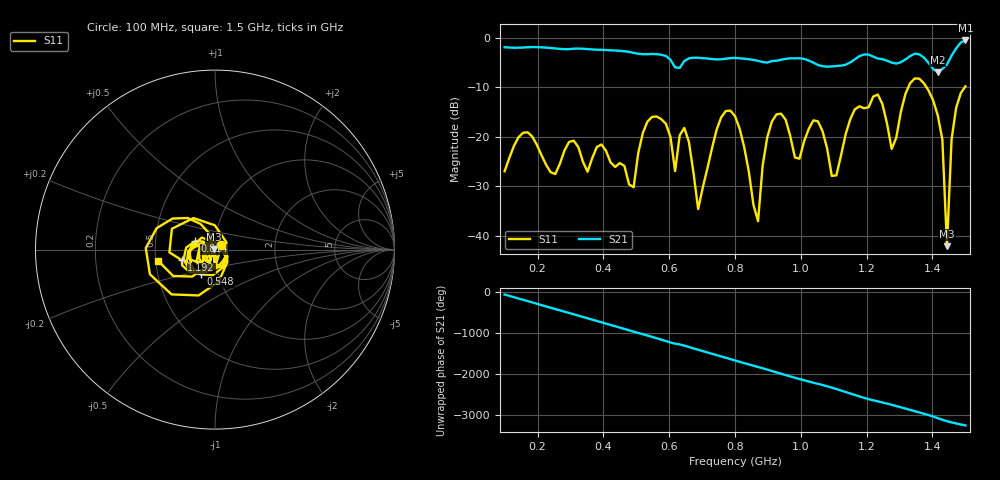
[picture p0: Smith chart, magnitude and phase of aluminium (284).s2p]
! NanoVNA-App
! Date: 2025-09-25 14:57:29
! Start: 100MHz Stop: 1,5GHz Points: 101
! S-Parameter data: F S11 S21 S12 S22
# Hz S RI R 50
!  Frequency  S11_Real  S11_Imag  S21_Real  S21_Imag  S12_Real  S12_Imag  S22_Real  S22_Imag
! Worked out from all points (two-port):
!   101 points, 100 MHz to 1.5 GHz, reference 50 ohm
!   highest |S21| = -0.56 dB at 1.5 GHz (marker M1); lowest = -7.0 dB at 1.416 GHz (marker M2)
!   |S21| within 3 dB of the highest: start of sweep to 582.6 MHz; 1.459 GHz to end of sweep (the widest 2 of 4)
!   lowest |S11| = -42.1 dB at 1.444 GHz (marker M3), VSWR 1.02, Z = 49.2 + j0.133 ohm
!   |S11| at or under -10 dB: start of sweep to 1.327 GHz; 1.382 GHz to 1.498 GHz (116.5 MHz wide, 8.09 % of centre)
!   S12 and S22 are empty: the file has one direction only
!   S11 on the Smith chart (normalised r, x): 100 MHz: 1.07, +0.06; 548 MHz: 0.82, -0.23; 814 MHz: 0.80, +0.07; 1.192 GHz: 0.68, -0.08; 1.5 GHz: 0.52, -0.07
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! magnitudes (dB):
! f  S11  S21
! 100 MHz  -27.0  -1.9
! 338 MHz  -25.0  -2.2
! 492 MHz  -30.2  -3.1
! 548 MHz  -16.0  -3.3
! 576 MHz  -16.4  -3.5
! 618 MHz  -26.9  -6.0
! 646 MHz  -18.2  -4.7
! 688 MHz  -34.6  -4.1
! 800 MHz  -15.8  -4.1
! 814 MHz  -18.4  -4.2
! 870 MHz  -37.0  -4.7
! 912 MHz  -16.9  -4.7
! 1.038 GHz  -16.7  -5.0
! 1.108 GHz  -27.8  -5.7
! 1.192 GHz  -14.2  -3.4
! 1.276 GHz  -22.4  -5.0
! 1.346 GHz  -8.2  -3.2
! 1.416 GHz  -15.7  -7.0
! 1.43 GHz  -20.5  -6.3
! 1.444 GHz  -42.1  -5.4
! 1.458 GHz  -20.5  -3.6
! 1.5 GHz  -9.8  -0.6
